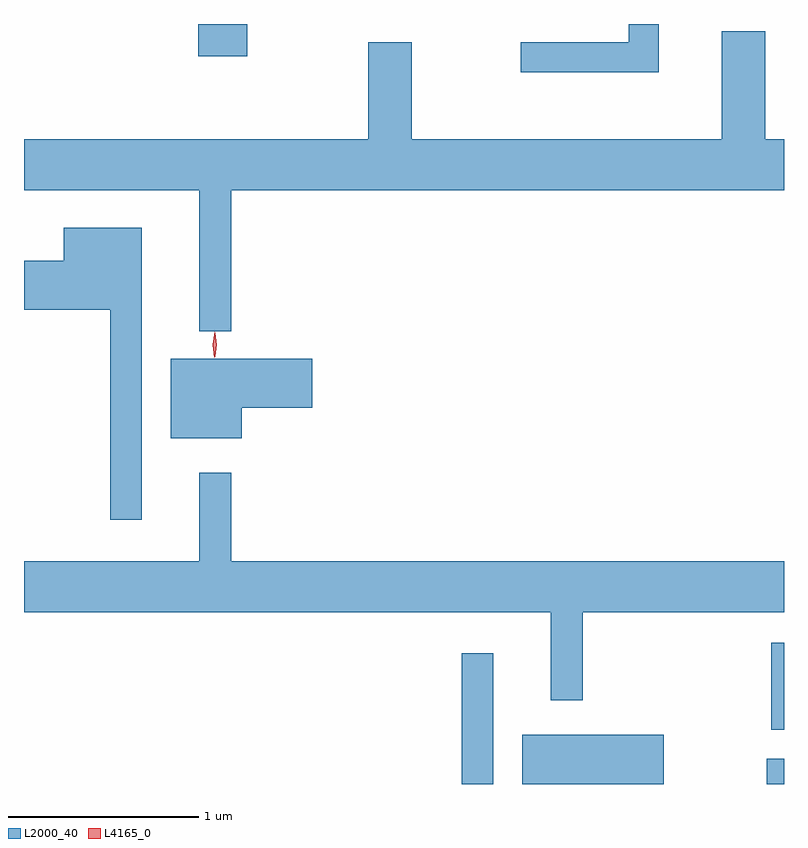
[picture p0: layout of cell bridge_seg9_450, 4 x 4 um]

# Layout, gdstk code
import gdstk
lib = gdstk.Library(unit=1e-6, precision=1e-09)
def R(c, l, rs):  # rectangles x0, y0, x1, y1
    for r in rs: c.add(gdstk.rectangle(r[:2], r[2:], *l))
def P(c, l, *ps):  # polygons
    for p in ps: c.add(gdstk.Polygon(p, *l))
L2000_40 = (2000, 40)
L4165_0 = (4165, 0)

bridge_seg9_450 = lib.new_cell('bridge_seg9_450')
R(bridge_seg9_450, L2000_40, [(477.871,1995.351,478.039,1996.038), (478.191,1995.351,478.934,1995.609), (479.476,1995.351,479.568,1995.484), (479.501,1995.636,479.568,1996.094), (476.486,1999.181,476.744,1999.351)])
P(bridge_seg9_450, L2000_40, [(478.909,1999.351),(478.751,1999.351),(478.751,1999.254),(478.183,1999.254),(478.183,1999.096),(478.909,1999.096)],
  [(476.659,1998.476),(479.568,1998.476),(479.568,1998.744),(479.469,1998.744),(479.469,1999.314),(479.241,1999.314),(479.241,1998.744),(477.609,1998.744),(477.609,1999.254),(477.381,1999.254),(477.381,1998.744),(475.568,1998.744),(475.568,1998.476),(476.491,1998.476),(476.491,1997.733),(476.659,1997.733)],
  [(476.189,1998.279),(475.776,1998.279),(475.776,1998.104),(475.568,1998.104),(475.568,1997.846),(476.021,1997.846),(476.021,1996.743),(476.189,1996.743)],
  [(476.714,1997.331),(477.084,1997.331),(477.084,1997.589),(476.341,1997.589),(476.341,1997.171),(476.714,1997.171)],
  [(478.509,1996.256),(479.568,1996.256),(479.568,1996.524),(476.659,1996.524),(476.659,1996.988),(476.491,1996.988),(476.491,1996.524),(475.568,1996.524),(475.568,1996.256),(478.341,1996.256),(478.341,1995.793),(478.509,1995.793)])
P(bridge_seg9_450, L4165_0, [(476.573,1997.6),(476.573,1997.6),(476.563,1997.664),(476.573,1997.726),(476.573,1997.727),(476.574,1997.726),(476.583,1997.664),(476.574,1997.6)],
  [(476.569,1997.594),(476.561,1997.662),(476.571,1997.73),(476.571,1997.73),(476.572,1997.73),(476.58,1997.662),(476.57,1997.594),(476.57,1997.594)])

lib.write_gds('bridge_seg9_450.gds')
